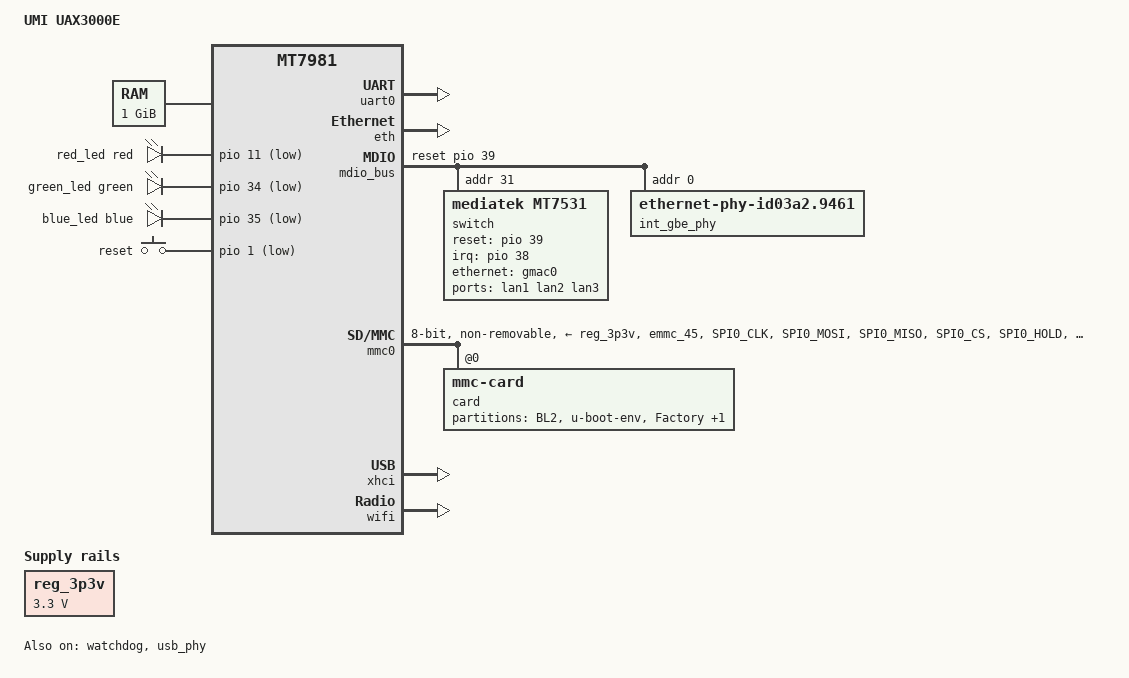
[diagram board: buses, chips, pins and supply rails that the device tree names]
// SPDX-License-Identifier: (GPL-2.0 OR MIT)
/dts-v1/;
#include "mt7981b.dtsi"
#include <dt-bindings/gpio/gpio.h>
#include <dt-bindings/input/input.h>
#include <dt-bindings/leds/common.h>

/ {
	model = "UMI UAX3000E";
	compatible = "umi,uax3000e", "mediatek,mt7981";

	aliases {
		label-mac-device = &gmac1;
		led-boot = &red_led;
		led-failsafe = &red_led;
		led-running = &green_led;
		led-upgrade = &blue_led;
		serial0 = &uart0;
		mmc0 = &mmc0;
	};

	chosen {
		stdout-path = "serial0:115200n8";
		bootargs = "root=PARTLABEL=rootfs rootwait";
		rootdisk = <&emmc_rootdisk>;
	};

	memory@40000000 {
		device_type = "memory";
		reg = <0 0x40000000 0 0x40000000>;
	};

	reg_3p3v: regulator-3p3v {
		compatible = "regulator-fixed";
		regulator-name = "fixed-3.3V";
		regulator-min-microvolt = <3300000>;
		regulator-max-microvolt = <3300000>;
		regulator-boot-on;
		regulator-always-on;
	};

	leds {
		compatible = "gpio-leds";

		red_led: led-0 {
			function = LED_FUNCTION_POWER;
			color = <LED_COLOR_ID_RED>;
			gpios = <&pio 11 GPIO_ACTIVE_LOW>;
		};

		green_led: led-1 {
			function = LED_FUNCTION_STATUS;
			color = <LED_COLOR_ID_GREEN>;
			gpios = <&pio 34 GPIO_ACTIVE_LOW>;
		};

		blue_led: led-2 {
			function = LED_FUNCTION_INDICATOR;
			color = <LED_COLOR_ID_BLUE>;
			gpios = <&pio 35 GPIO_ACTIVE_LOW>;
		};
	};

	gpio-keys {
		compatible = "gpio-keys";

		reset {
			label = "reset";
			linux,code = <KEY_RESTART>;
			gpios = <&pio 1 GPIO_ACTIVE_LOW>;
		};
	};
};

&pio {
	mmc0_pins_default: mmc0-pins-default {
		mux {
			function = "flash";
			groups = "emmc_45";
		};

		conf-cmd-dat {
			pins = "SPI0_CLK", "SPI0_MOSI", "SPI0_MISO",
			       "SPI0_CS", "SPI0_HOLD", "SPI0_WP",
			       "SPI1_CLK", "SPI1_MOSI", "SPI1_MISO";
			input-enable;
			drive-strength = <MTK_DRIVE_4mA>;
			bias-pull-up = <MTK_PUPD_SET_R1R0_01>;
		};

		conf-clk {
			pins = "SPI1_CS";
			drive-strength = <MTK_DRIVE_6mA>;
			bias-pull-down = <MTK_PUPD_SET_R1R0_10>;
		};
	};

	mmc0_pins_uhs: mmc0-pins-uhs {
		mux {
			function = "flash";
			groups = "emmc_45";
		};

		conf-cmd-dat {
			pins = "SPI0_CLK", "SPI0_MOSI", "SPI0_MISO",
			       "SPI0_CS", "SPI0_HOLD", "SPI0_WP",
			       "SPI1_CLK", "SPI1_MOSI", "SPI1_MISO";
			input-enable;
			drive-strength = <MTK_DRIVE_4mA>;
			bias-pull-up = <MTK_PUPD_SET_R1R0_01>;
		};

		conf-clk {
			pins = "SPI1_CS";
			drive-strength = <MTK_DRIVE_6mA>;
			bias-pull-down = <MTK_PUPD_SET_R1R0_10>;
		};
	};
};

&uart0 {
	status = "okay";
};

&watchdog {
	status = "okay";
};

&eth {
	status = "okay";
	pinctrl-names = "default";
	pinctrl-0 = <&mdio_pins>;

	gmac0: mac@0 {
		compatible = "mediatek,eth-mac";
		reg = <0>;
		phy-mode = "2500base-x";
		nvmem-cells = <&macaddr_factory_1000 0>;
		nvmem-cell-names = "mac-address";

		fixed-link {
			speed = <2500>;
			full-duplex;
			pause;
		};
	};

	gmac1: mac@1 {
		compatible = "mediatek,eth-mac";
		reg = <1>;
		phy-mode = "gmii";
		phy-handle = <&int_gbe_phy>;
		nvmem-cells = <&macaddr_factory_1000 1>;
		nvmem-cell-names = "mac-address";
	};
};

&mdio_bus {
	reset-gpios = <&pio 39 GPIO_ACTIVE_HIGH>;
	reset-delay-us = <600>;
	reset-post-delay-us = <20000>;

	switch: switch@1f {
		compatible = "mediatek,mt7531";
		reg = <31>;
		reset-gpios = <&pio 39 GPIO_ACTIVE_HIGH>;
		interrupt-controller;
		#interrupt-cells = <1>;
		interrupt-parent = <&pio>;
		interrupts = <38 IRQ_TYPE_LEVEL_HIGH>;
	};

	int_gbe_phy: ethernet-phy@0 {
		compatible = "ethernet-phy-id03a2.9461";
		reg = <0>;
	};
};

&switch {
	ports {
		#address-cells = <1>;
		#size-cells = <0>;

		port@0 {
			reg = <0>;
			label = "lan1";
		};

		port@1 {
			reg = <1>;
			label = "lan2";
		};

		port@2 {
			reg = <2>;
			label = "lan3";
		};

		port@6 {
			reg = <6>;
			ethernet = <&gmac0>;
			phy-mode = "2500base-x";

			fixed-link {
				speed = <2500>;
				full-duplex;
				pause;
			};
		};
	};
};

&mmc0 {
	status = "okay";
	pinctrl-names = "default", "state_uhs";
	pinctrl-0 = <&mmc0_pins_default>;
	pinctrl-1 = <&mmc0_pins_uhs>;
	bus-width = <8>;
	max-frequency = <52000000>;
	cap-mmc-highspeed;
	cap-mmc-hw-reset;
	non-removable;
	vmmc-supply = <&reg_3p3v>;

	card@0 {
		compatible = "mmc-card";
		reg = <0>;

		block {
			compatible = "block-device";

			partitions {
				partition@0 {
					label = "BL2";
					reg = <0x00000 0x100000>;
					read-only;
				};

				partition@100000 {
					label = "u-boot-env";
					reg = <0x100000 0x80000>;
					read-only;
				};

				factory: partition@180000 {
					label = "Factory";
					reg = <0x180000 0x200000>;
					read-only;

					nvmem-layout {
						compatible = "fixed-layout";
						#address-cells = <1>;
						#size-cells = <1>;

						eeprom_factory_0: eeprom@0 {
							reg = <0x0 0x1000>;
						};

						macaddr_factory_1000: macaddr@1000 {
							compatible = "mac-base";
							reg = <0x1000 0x6>;
							#nvmem-cell-cells = <1>;
						};
					};
				};

				emmc_rootdisk: partition@380000 {
					label = "rootfs";
					reg = <0x380000 0x4000000>;
				};
			};
		};
	};
};

&usb_phy {
	status = "okay";
};

&xhci {
	status = "okay";
};

&wifi {
	status = "okay";
	nvmem-cells = <&eeprom_factory_0>;
	nvmem-cell-names = "eeprom";
};
